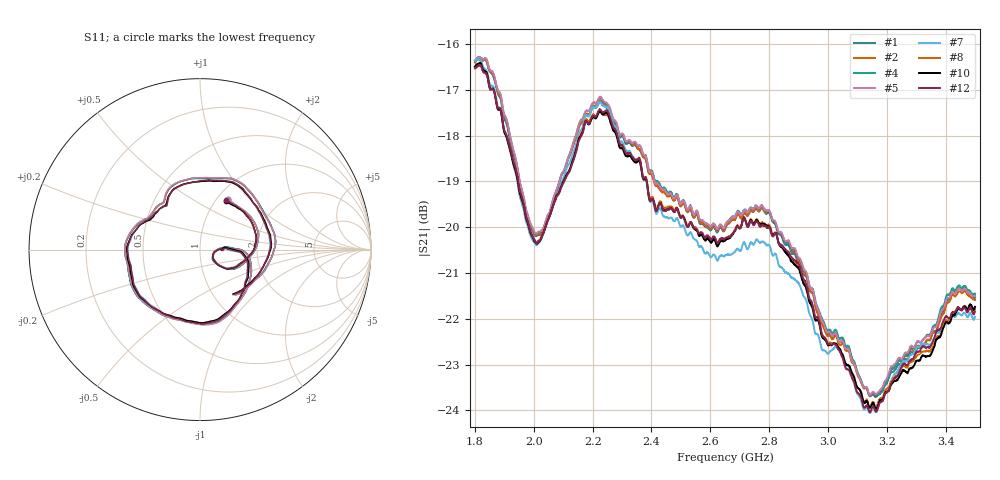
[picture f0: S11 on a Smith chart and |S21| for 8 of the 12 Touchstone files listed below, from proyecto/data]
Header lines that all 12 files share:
! Created with skrf 1.9.0 (http://scikit-rf.org).
# Hz S RI R 50.0
!freq ReS11 ImS11 ReS21 ImS21 ReS12 ImS12 ReS22 ImS22
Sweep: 1.8 GHz to 3.5 GHz
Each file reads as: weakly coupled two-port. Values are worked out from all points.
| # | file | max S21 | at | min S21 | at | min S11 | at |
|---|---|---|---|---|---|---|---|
| 1 | A28_D05_B2_O000_corrected.s2p | -16.30 dB | 1.811 GHz | -23.7 dB | 3.162 GHz | -21.8 dB | 2.09 GHz |
| 2 | A28_D05_B2_O120_corrected.s2p | -16.31 dB | 1.812 GHz | -23.7 dB | 3.144 GHz | -21.5 dB | 2.089 GHz |
| 3 | A28_D05_B2_O240_corrected.s2p | -16.34 dB | 1.811 GHz | -23.7 dB | 3.162 GHz | -21.5 dB | 2.091 GHz |
| 4 | A28_D06_B2_O000_corrected.s2p | -16.29 dB | 1.814 GHz | -23.7 dB | 3.164 GHz | -21.6 dB | 2.09 GHz |
| 5 | A28_D06_B2_O120_corrected.s2p | -16.29 dB | 1.814 GHz | -23.7 dB | 3.142 GHz | -21.5 dB | 2.088 GHz |
| 6 | A28_D08_B2_O120_corrected.s2p | -16.34 dB | 1.812 GHz | -23.8 dB | 3.142 GHz | -21.4 dB | 2.088 GHz |
| 7 | A29_D01_B2_O240_corrected.s2p | -16.33 dB | 1.808 GHz | -24.1 dB | 3.143 GHz | -21.8 dB | 2.091 GHz |
| 8 | A29_D02_B2_O120_corrected.s2p | -16.48 dB | 1.811 GHz | -23.9 dB | 3.163 GHz | -21.9 dB | 2.09 GHz |
| 9 | A29_D02_B2_O240_corrected.s2p | -16.53 dB | 1.817 GHz | -24.1 dB | 3.162 GHz | -21.8 dB | 2.09 GHz |
| 10 | A29_D03_B2_O000_corrected.s2p | -16.41 dB | 1.817 GHz | -24.0 dB | 3.163 GHz | -21.8 dB | 2.09 GHz |
| 11 | A29_D03_B2_O120_corrected.s2p | -16.40 dB | 1.816 GHz | -23.9 dB | 3.165 GHz | -21.8 dB | 2.09 GHz |
| 12 | A29_D03_B2_O240_corrected.s2p | -16.46 dB | 1.816 GHz | -24.0 dB | 3.142 GHz | -21.7 dB | 2.088 GHz |
